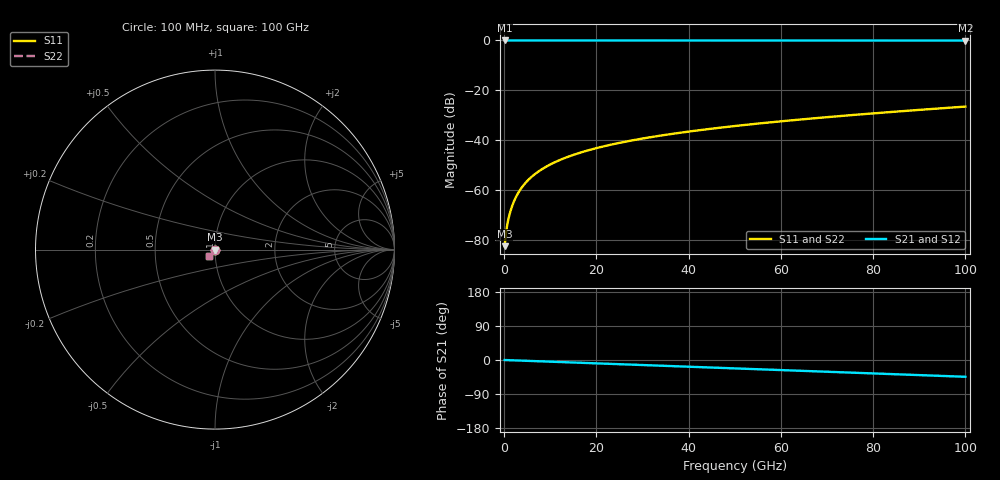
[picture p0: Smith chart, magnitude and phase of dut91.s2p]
! Touchstone file exported from HFSS 2026.1.0
!  File:  C:/ffzhzh/LocalFiles/Ansys_Project_Files/temp_train_TSV_91_1783505611_31944.aedt
!  Generated:  06:14:42 PM Jul  8, 2026
!  Design:  TSV
!  Project:  temp_train_TSV_91_1783505611_31944
! Variables:
!  h_bsmrdl = 2um
!  h_ox = 20um
!  h_rdl = 5um
!  h_sub = 87.15um
!  h_tmrdl = 5um
!  h_tsv = 87.15um
!  h_via = 3um
!  l_bsmrdl = 300um
!  l_sub = 429.94um
!  l_tmrdl = 200um
!  m_sub = 200um
!  pitch = 57.05um
!  r_tsv = 14.97um
!  s_tmrdl = 10um
!  w_bsmrdl = 18um
!  w_sub = 500um
!  w_tmrdl = 12um
!  x_tsv_center1 = 206um
!  x_tsv_center2 = 524um
!  x_tsv_center3 = 736um
!  x_tsv_center4 = 1054um
!  x_tsv_center5 = 1266um
!  x_tsv_center6 = 1584um
# GHz S MA R 50.000000
! Terminal data exported
! Port[1] = TSV1_1_T1
! Port[2] = TSV1_1_T2
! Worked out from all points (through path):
!   1000 points, 100 MHz to 100 GHz, reference 50 ohm
!   highest |S21| = 0.00 dB at 100 MHz (marker M1); lowest = 0.0 dB at 100 GHz (marker M2)
!   group delay of S21, straight-line fit = 1.23 ps
!   lowest |S11| = -82.4 dB at 100 MHz (marker M3), VSWR 1.00, Z = 50 + j0.000925 ohm
!   |S11| at or under -10 dB: start of sweep to end of sweep
!   |S22| runs from -82.4 to -26.5 dB; largest |S21 - S12| = 3.1e-15
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0.1  7.577e-05 7.0  0.9999 -0.0  0.9999 -0.0  7.577e-05 7.0
! Gamma 0 0 0 0
! Port Impedance 50 0 50 0
0.5  0.0001611 -9.4  0.9998 -0.2  0.9998 -0.2  0.0001611 -9.5
0.9  0.000259 -31.1  0.9998 -0.4  0.9998 -0.4  0.000259 -31.1
1.2  0.0003363 -41.3  0.9997 -0.5  0.9997 -0.5  0.0003363 -41.3
1.6  0.000445 -50.1  0.9997 -0.7  0.9997 -0.7  0.000445 -50.1
2  0.0005597 -55.8  0.9997 -0.9  0.9997 -0.9  0.0005597 -55.8
2.6  0.0007412 -61.5  0.9996 -1.2  0.9996 -1.2  0.0007412 -61.5
3.2  0.0009313 -65.4  0.9996 -1.4  0.9996 -1.4  0.0009313 -65.4
4  0.001194 -69.2  0.9995 -1.8  0.9995 -1.8  0.001194 -69.2
4.8  0.001462 -72.0  0.9995 -2.1  0.9995 -2.1  0.001462 -72.0
5.8  0.001804 -74.8  0.9994 -2.6  0.9994 -2.6  0.001804 -74.8
6.9  0.002184 -77.1  0.9994 -3.1  0.9994 -3.1  0.002184 -77.1
9.6  0.003137 -81.1  0.9993 -4.2  0.9993 -4.2  0.003136 -81.1
12.9  0.004332 -84.6  0.9992 -5.7  0.9992 -5.7  0.004331 -84.6
16.8  0.005772 -87.9  0.999 -7.4  0.999 -7.4  0.005771 -87.9
24.1  0.008539 -93.0  0.9988 -10.6  0.9988 -10.6  0.008538 -93.0
33.4  0.01222 -98.5  0.9986 -14.7  0.9986 -14.7  0.01222 -98.5
41.1  0.01542 -102.7  0.9984 -18.1  0.9984 -18.1  0.01542 -102.7
50.1  0.01937 -107.4  0.9981 -22.1  0.9981 -22.1  0.01936 -107.4
66.7  0.02737 -115.7  0.9976 -29.4  0.9976 -29.4  0.02737 -115.8
83.4  0.03662 -124.0  0.9969 -36.8  0.9969 -36.8  0.03662 -124.1
100  0.04736 -132.3  0.996 -44.3  0.996 -44.3  0.04736 -132.3
